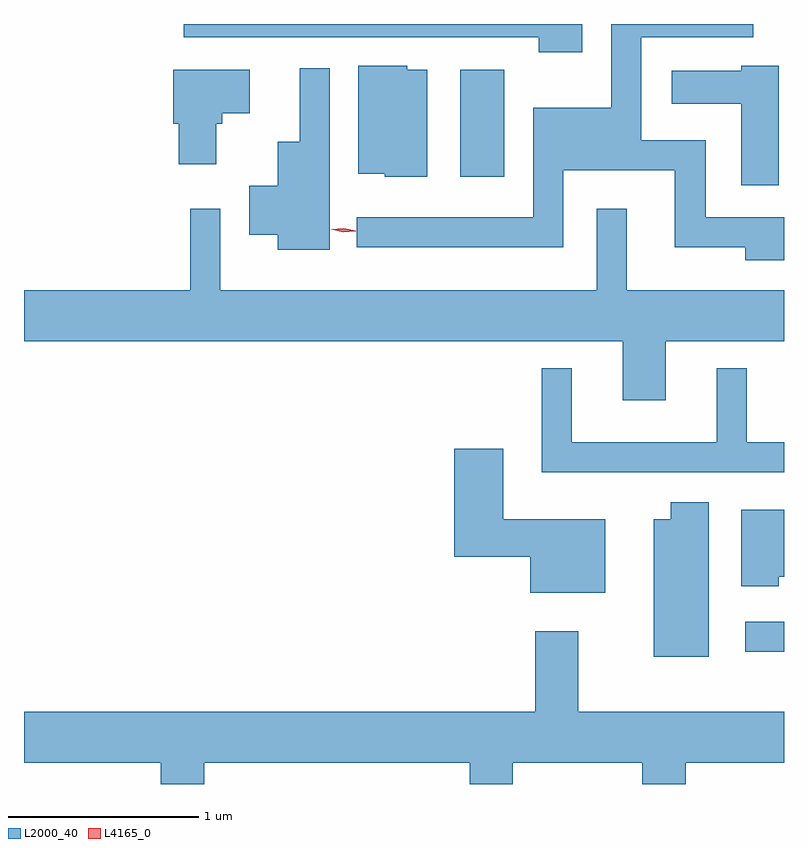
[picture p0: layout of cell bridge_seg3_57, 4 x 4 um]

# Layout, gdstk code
import gdstk
lib = gdstk.Library(unit=1e-6, precision=1e-09)
def R(c, l, rs):  # rectangles x0, y0, x1, y1
    for r in rs: c.add(gdstk.rectangle(r[:2], r[2:], *l))
def P(c, l, *ps):  # polygons
    for p in ps: c.add(gdstk.Polygon(p, *l))
L2000_40 = (2000, 40)
L4165_0 = (4165, 0)

bridge_seg3_57 = lib.new_cell('bridge_seg3_57')
R(bridge_seg3_57, L2000_40, [(1182.868,1171.001,1183.071,1171.159), (1181.366,1173.501,1181.599,1174.064)])
P(bridge_seg3_57, L2000_40, [(1182.009,1174.305),(1179.911,1174.305),(1179.911,1174.236),(1181.781,1174.236),(1181.781,1174.156),(1182.009,1174.156)],
  [(1183.071,1173.289),(1182.659,1173.289),(1182.659,1173.694),(1182.319,1173.694),(1182.319,1174.236),(1182.908,1174.236),(1182.908,1174.305),(1182.161,1174.305),(1182.161,1173.864),(1181.751,1173.864),(1181.751,1173.289),(1180.823,1173.289),(1180.823,1173.131),(1181.909,1173.131),(1181.909,1173.536),(1182.496,1173.536),(1182.496,1173.131),(1182.866,1173.131),(1182.866,1173.061),(1183.071,1173.061)],
  [(1181.194,1174.064),(1181.089,1174.064),(1181.089,1174.084),(1180.831,1174.084),(1180.831,1173.516),(1180.97,1173.516),(1180.97,1173.501),(1181.194,1173.501)],
  [(1183.044,1174.084),(1182.846,1174.084),(1182.846,1174.059),(1182.481,1174.059),(1182.481,1173.886),(1182.846,1173.886),(1182.846,1173.456),(1183.044,1173.456)],
  [(1180.679,1174.073),(1180.521,1174.073),(1180.521,1173.684),(1180.406,1173.684),(1180.406,1173.454),(1180.256,1173.454),(1180.256,1173.196),(1180.406,1173.196),(1180.406,1173.116),(1180.679,1173.116)],
  [(1180.084,1173.781),(1180.114,1173.781),(1180.114,1173.836),(1180.259,1173.836),(1180.259,1174.064),(1179.856,1174.064),(1179.856,1173.781),(1179.886,1173.781),(1179.886,1173.566),(1180.084,1173.566)],
  [(1182.449,1172.636),(1183.071,1172.636),(1183.071,1172.904),(1182.244,1172.904),(1182.244,1173.333),(1182.086,1173.333),(1182.086,1172.904),(1180.104,1172.904),(1180.104,1173.333),(1179.946,1173.333),(1179.946,1172.904),(1179.071,1172.904),(1179.071,1172.636),(1182.221,1172.636),(1182.221,1172.326),(1182.449,1172.326)],
  [(1183.071,1172.104),(1182.874,1172.104),(1182.874,1172.493),(1182.716,1172.493),(1182.716,1172.104),(1181.954,1172.104),(1181.954,1172.493),(1181.796,1172.493),(1181.796,1171.946),(1183.071,1171.946)],
  [(1182.129,1171.699),(1181.594,1171.699),(1181.594,1172.069),(1181.336,1172.069),(1181.336,1171.501),(1181.736,1171.501),(1181.736,1171.311),(1182.129,1171.311)],
  [(1182.674,1171.789),(1182.476,1171.789),(1182.476,1171.699),(1182.386,1171.699),(1182.386,1170.976),(1182.674,1170.976)],
  [(1183.044,1171.396),(1183.071,1171.396),(1183.071,1171.749),(1182.846,1171.749),(1182.846,1171.346),(1183.044,1171.346)],
  [(1180.019,1170.416),(1181.416,1170.416),(1181.416,1170.305),(1181.644,1170.305),(1181.644,1170.416),(1182.326,1170.416),(1182.326,1170.305),(1182.554,1170.305),(1182.554,1170.416),(1183.071,1170.416),(1183.071,1170.684),(1181.989,1170.684),(1181.989,1171.109),(1181.761,1171.109),(1181.761,1170.684),(1179.071,1170.684),(1179.071,1170.416),(1179.791,1170.416),(1179.791,1170.305),(1180.019,1170.305)])
P(bridge_seg3_57, L4165_0, [(1180.752,1173.21),(1180.689,1173.225),(1180.688,1173.225),(1180.689,1173.226),(1180.754,1173.23),(1180.817,1173.216),(1180.817,1173.215),(1180.817,1173.214)])

lib.write_gds('bridge_seg3_57.gds')
